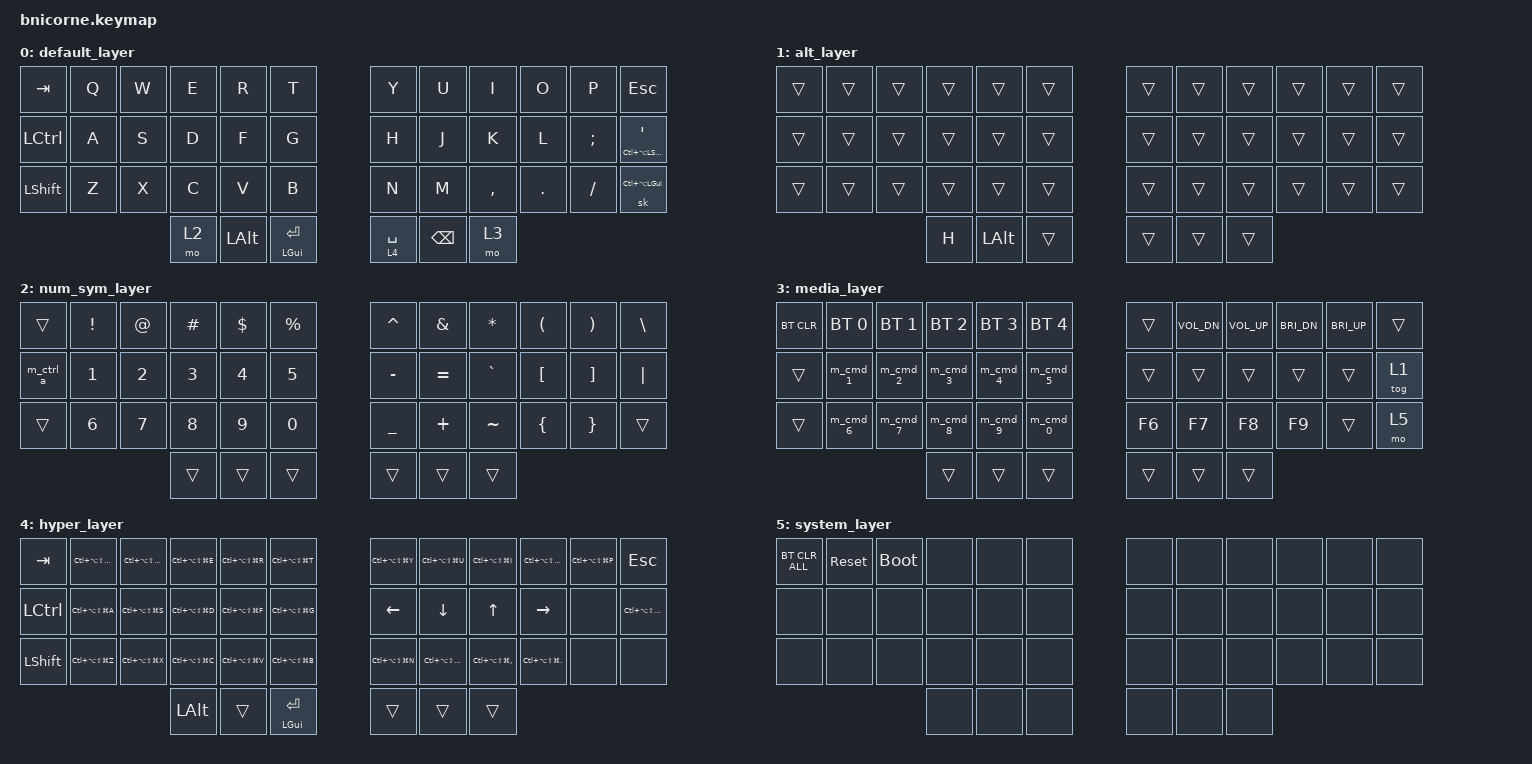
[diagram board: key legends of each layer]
/*
 * ZMK Keymap - Converted from Vial QMK
 * Boardsource Unicorne / Wireless Corne
 *
 * SPDX-License-Identifier: MIT
 */

#include <behaviors.dtsi>
#include <dt-bindings/zmk/keys.h>
#include <dt-bindings/zmk/bt.h>

/ {
    /* ========== TRI-STATE (urob module) ========== */
    /* Swapper for Cmd+Tab: holds Cmd while tapping, releases on key release */
    swapper: swapper {
        compatible = "zmk,behavior-tri-state";
        #binding-cells = <0>;
        bindings = <&kt LGUI>, <&kp TAB>, <&kt LGUI>;
        ignored-key-positions = <0 12>;  // Tab and Ctrl - allow repeated presses to cycle apps
    };

    /* ========== COMBOS ========== */
    combos {
        compatible = "zmk,combos";

        // Cmd+Tab app switcher: Ctrl + Tab pressed together triggers swapper
        combo_app_switch {
            timeout-ms = <50>;
            key-positions = <0 12>;  // Tab key + Ctrl key
            bindings = <&swapper>;
        };

    };

    /* ========== MACROS ========== */
    macros {
        // M0: Ctrl+A (select all)
        m_ctrl_a: m_ctrl_a {
            compatible = "zmk,behavior-macro";
            #binding-cells = <0>;
            bindings = <&kp LC(A)>;
        };

        // M1-M10: Cmd+1 through Cmd+0 (workspace/tab switching)
        m_cmd_1: m_cmd_1 {
            compatible = "zmk,behavior-macro";
            #binding-cells = <0>;
            bindings = <&kp LG(N1)>;
        };
        m_cmd_2: m_cmd_2 {
            compatible = "zmk,behavior-macro";
            #binding-cells = <0>;
            bindings = <&kp LG(N2)>;
        };
        m_cmd_3: m_cmd_3 {
            compatible = "zmk,behavior-macro";
            #binding-cells = <0>;
            bindings = <&kp LG(N3)>;
        };
        m_cmd_4: m_cmd_4 {
            compatible = "zmk,behavior-macro";
            #binding-cells = <0>;
            bindings = <&kp LG(N4)>;
        };
        m_cmd_5: m_cmd_5 {
            compatible = "zmk,behavior-macro";
            #binding-cells = <0>;
            bindings = <&kp LG(N5)>;
        };
        m_cmd_6: m_cmd_6 {
            compatible = "zmk,behavior-macro";
            #binding-cells = <0>;
            bindings = <&kp LG(N6)>;
        };
        m_cmd_7: m_cmd_7 {
            compatible = "zmk,behavior-macro";
            #binding-cells = <0>;
            bindings = <&kp LG(N7)>;
        };
        m_cmd_8: m_cmd_8 {
            compatible = "zmk,behavior-macro";
            #binding-cells = <0>;
            bindings = <&kp LG(N8)>;
        };
        m_cmd_9: m_cmd_9 {
            compatible = "zmk,behavior-macro";
            #binding-cells = <0>;
            bindings = <&kp LG(N9)>;
        };
        m_cmd_0: m_cmd_0 {
            compatible = "zmk,behavior-macro";
            #binding-cells = <0>;
            bindings = <&kp LG(N0)>;
        };
    };

    /* ========== BEHAVIORS ========== */
    behaviors {
        // Hold-tap for GUI(hold)/Enter(tap) - left thumb
        gui_ent: gui_enter {
            compatible = "zmk,behavior-hold-tap";
            #binding-cells = <2>;
            flavor = "hold-preferred";
            tapping-term-ms = <200>;
            bindings = <&kp>, <&kp>;
            hold-while-undecided;
            retro-tap;
        };

        // Layer-tap for Layer 4(hold)/Space(tap) - right thumb
        lt4_spc: lt4_space {
            compatible = "zmk,behavior-hold-tap";
            #binding-cells = <2>;
            flavor = "balanced";
            tapping-term-ms = <200>;
            bindings = <&mo>, <&kp>;
        };

        // MEH hold-tap: tap = ', hold = MEH (Ctrl+Alt+Shift)
        meh_quot: meh_quote {
            compatible = "zmk,behavior-hold-tap";
            #binding-cells = <2>;
            flavor = "balanced";
            tapping-term-ms = <200>;
            bindings = <&sk>, <&kp>;
        };

};

/* ========== KEYMAP ========== */
    keymap {
        compatible = "zmk,keymap";

        /* ================================================
         * LAYER 0: Base QWERTY
         * ================================================
         * ┌─────┬─────┬─────┬─────┬─────┬─────┐   ┌─────┬─────┬─────┬─────┬─────┬─────┐
         * │ TAB │  Q  │  W  │  E  │  R  │  T  │   │  Y  │  U  │  I  │  O  │  P  │ ESC │
         * ├─────┼─────┼─────┼─────┼─────┼─────┤   ├─────┼─────┼─────┼─────┼─────┼─────┤
         * │CTRL │  A  │  S  │  D  │  F  │  G  │   │  H  │  J  │  K  │  L  │  ;  │  '  │
         * ├─────┼─────┼─────┼─────┼─────┼─────┤   ├─────┼─────┼─────┼─────┼─────┼─────┤
         * │SHFT │  Z  │  X  │  C  │  V  │  B  │   │  N  │  M  │  ,  │  .  │  /  │ MEH │
         * └─────┴─────┴─────┼─────┼─────┼─────┤   ├─────┼─────┼─────┼─────┴─────┴─────┘
         *                   │ MO2 │ ALT │GUI/⏎│   │LT4/␣│BSPC │ MO3 │
         *                   └─────┴─────┴─────┘   └─────┴─────┴─────┘
         */
        default_layer {
            bindings = <
   &kp TAB    &kp Q  &kp W  &kp E  &kp R  &kp T      &kp Y  &kp U  &kp I      &kp O    &kp P     &kp ESC
   &kp LCTRL  &kp A  &kp S  &kp D  &kp F  &kp G      &kp H  &kp J  &kp K      &kp L    &kp SEMI  &meh_quot LC(LA(LSHFT)) SQT
   &kp LSHFT  &kp Z  &kp X  &kp C  &kp V  &kp B      &kp N  &kp M  &kp COMMA  &kp DOT  &kp FSLH  &sk LC(LA(LGUI))
                     &mo 2  &kp LALT  &gui_ent LGUI RET    &lt4_spc 4 SPACE  &kp BSPC  &mo 3
            >;
        };

        /* ================================================
         * LAYER 1: Alternate (Toggle via TG(1) from Layer 3)
         * ================================================
         * Almost entirely transparent - only left thumb changes to H
         */
        alt_layer {
            bindings = <
   &trans  &trans  &trans  &trans  &trans  &trans      &trans  &trans  &trans  &trans  &trans  &trans
   &trans  &trans  &trans  &trans  &trans  &trans      &trans  &trans  &trans  &trans  &trans  &trans
   &trans  &trans  &trans  &trans  &trans  &trans      &trans  &trans  &trans  &trans  &trans  &trans
                   &kp H   &kp LALT  &trans            &trans  &trans  &trans
            >;
        };

        /* ================================================
         * LAYER 2: Numbers & Symbols
         * ================================================
         * ┌─────┬─────┬─────┬─────┬─────┬─────┐   ┌─────┬─────┬─────┬─────┬─────┬─────┐
         * │     │  !  │  @  │  #  │  $  │  %  │   │  ^  │  &  │  *  │  (  │  )  │  \  │
         * ├─────┼─────┼─────┼─────┼─────┼─────┤   ├─────┼─────┼─────┼─────┼─────┼─────┤
         * │ ^A  │  1  │  2  │  3  │  4  │  5  │   │  -  │  =  │  `  │  [  │  ]  │  |  │
         * ├─────┼─────┼─────┼─────┼─────┼─────┤   ├─────┼─────┼─────┼─────┼─────┼─────┤
         * │     │  6  │  7  │  8  │  9  │  0  │   │  _  │  +  │  ~  │  {  │  }  │     │
         * └─────┴─────┴─────┼─────┼─────┼─────┤   ├─────┼─────┼─────┼─────┴─────┴─────┘
         *                   │ ### │     │     │   │     │     │     │
         *                   └─────┴─────┴─────┘   └─────┴─────┴─────┘
         */
        num_sym_layer {
            bindings = <
   &trans     &kp EXCL  &kp AT  &kp HASH  &kp DLLR  &kp PRCNT      &kp CARET  &kp AMPS   &kp ASTRK  &kp LPAR  &kp RPAR  &kp BSLH
   &m_ctrl_a  &kp N1    &kp N2  &kp N3    &kp N4    &kp N5         &kp MINUS  &kp EQUAL  &kp GRAVE  &kp LBKT  &kp RBKT  &kp PIPE
   &trans     &kp N6    &kp N7  &kp N8    &kp N9    &kp N0         &kp UNDER  &kp PLUS   &kp TILDE  &kp LBRC  &kp RBRC  &trans
                        &trans  &trans    &trans                   &trans     &trans     &trans
            >;
        };

        /* ================================================
         * LAYER 3: Media, F-keys, Macros, Bluetooth
         * ================================================
         * ┌─────┬─────┬─────┬─────┬─────┬─────┐   ┌─────┬─────┬─────┬─────┬─────┬─────┐
         * │BTCLR│ BT1 │ BT2 │ BT3 │ BT4 │ BT5 │   │     │ VDN │ VUP │BRIDN│BRIUP│     │
         * ├─────┼─────┼─────┼─────┼─────┼─────┤   ├─────┼─────┼─────┼─────┼─────┼─────┤
         * │     │ ⌘1  │ ⌘2  │ ⌘3  │ ⌘4  │ ⌘5  │   │     │     │     │     │     │TG(1)│
         * ├─────┼─────┼─────┼─────┼─────┼─────┤   ├─────┼─────┼─────┼─────┼─────┼─────┤
         * │     │ ⌘6  │ ⌘7  │ ⌘8  │ ⌘9  │ ⌘0  │   │ F6  │ F7  │ F8  │ F9  │     │ MO5 │
         * └─────┴─────┴─────┼─────┼─────┼─────┤   ├─────┼─────┼─────┼─────┴─────┴─────┘
         *                   │     │     │     │   │     │     │ ### │
         *                   └─────┴─────┴─────┘   └─────┴─────┴─────┘
         */
        media_layer {
            bindings = <
   &bt BT_CLR  &bt BT_SEL 0  &bt BT_SEL 1  &bt BT_SEL 2  &bt BT_SEL 3  &bt BT_SEL 4      &trans  &kp C_VOL_DN  &kp C_VOL_UP  &kp C_BRI_DN  &kp C_BRI_UP  &trans
   &trans      &m_cmd_1      &m_cmd_2      &m_cmd_3      &m_cmd_4      &m_cmd_5          &trans  &trans        &trans        &trans        &trans        &tog 1
   &trans      &m_cmd_6      &m_cmd_7      &m_cmd_8      &m_cmd_9      &m_cmd_0          &kp F6  &kp F7        &kp F8        &kp F9        &trans        &mo 5
                             &trans        &trans        &trans                          &trans  &trans        &trans
            >;
        };

        /* ================================================
         * LAYER 4: Hyper Layer (LT4 from Space)
         * ================================================
         * ┌─────┬─────┬─────┬─────┬─────┬─────┐   ┌─────┬─────┬─────┬─────┬─────┬─────┐
         * │ TAB │ H-Q │ H-W │ H-E │ H-R │ H-T │   │ H-Y │ H-U │ H-I │ H-O │ H-P │ ESC │
         * ├─────┼─────┼─────┼─────┼─────┼─────┤   ├─────┼─────┼─────┼─────┼─────┼─────┤
         * │CTRL │ H-A │ H-S │ H-D │ H-F │ H-G │   │  ←  │  ↓  │  ↑  │  →  │     │H-TAB│
         * ├─────┼─────┼─────┼─────┼─────┼─────┤   ├─────┼─────┼─────┼─────┼─────┼─────┤
         * │SHFT │ H-Z │ H-X │ H-C │ H-V │ H-B │   │ H-N │ H-M │ H-, │ H-. │     │     │
         * └─────┴─────┴─────┼─────┼─────┼─────┤   ├─────┼─────┼─────┼─────┴─────┴─────┘
         *                   │ ALT │     │GUI/⏎│   │ ### │     │     │
         *                   └─────┴─────┴─────┘   └─────┴─────┴─────┘
         * H- = Hyper (Ctrl+Alt+Shift+Gui)
         */
        hyper_layer {
            bindings = <
   &kp TAB    &kp LC(LA(LS(LG(Q))))  &kp LC(LA(LS(LG(W))))  &kp LC(LA(LS(LG(E))))  &kp LC(LA(LS(LG(R))))  &kp LC(LA(LS(LG(T))))      &kp LC(LA(LS(LG(Y))))  &kp LC(LA(LS(LG(U))))  &kp LC(LA(LS(LG(I))))      &kp LC(LA(LS(LG(O))))    &kp LC(LA(LS(LG(P))))  &kp ESC
   &kp LCTRL  &kp LC(LA(LS(LG(A))))  &kp LC(LA(LS(LG(S))))  &kp LC(LA(LS(LG(D))))  &kp LC(LA(LS(LG(F))))  &kp LC(LA(LS(LG(G))))      &kp LEFT               &kp DOWN               &kp UP                     &kp RIGHT                &none                  &kp LC(LA(LS(LG(TAB))))
   &kp LSHFT  &kp LC(LA(LS(LG(Z))))  &kp LC(LA(LS(LG(X))))  &kp LC(LA(LS(LG(C))))  &kp LC(LA(LS(LG(V))))  &kp LC(LA(LS(LG(B))))      &kp LC(LA(LS(LG(N))))  &kp LC(LA(LS(LG(M))))  &kp LC(LA(LS(LG(COMMA))))  &kp LC(LA(LS(LG(DOT))))  &none                  &none
                                     &kp LALT               &trans                 &gui_ent LGUI RET                                 &trans                 &trans                 &trans
            >;
        };
        /* ================================================
         * LAYER 5: System (via MO3 → hold MO5 on bottom-right)
         * ================================================
         * Step 1: Hold MO3 (right thumb) → Layer 3
         * Step 2: Hold bottom-right pinky (MO5) → Layer 5
         * Step 3: Tap left-hand key:
         *   - Top-left row: BT_CLR_ALL │ SYS_RESET │ BOOTLOADER
         */
        system_layer {
            bindings = <
   &bt BT_CLR_ALL  &sys_reset  &bootloader  &none  &none  &none      &none  &none  &none  &none  &none  &none
   &none           &none       &none        &none  &none  &none      &none  &none  &none  &none  &none  &none
   &none           &none       &none        &none  &none  &none      &none  &none  &none  &none  &none  &none
                   &none       &none        &none                    &none  &none  &none
            >;
        };
    };
};
